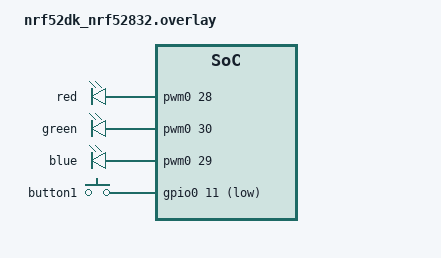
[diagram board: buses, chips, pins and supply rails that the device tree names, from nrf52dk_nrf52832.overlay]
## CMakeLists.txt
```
# SPDX-License-Identifier: Apache-2.0

cmake_minimum_required(VERSION 3.20.0)

find_package(Zephyr REQUIRED HINTS $ENV{ZEPHYR_BASE})
project(hello_world)

target_include_directories(app PRIVATE inc)

target_sources(app PRIVATE
	src/main.c
	src/cpp_main.cpp
	src/gpio_base.cpp
	src/gpio.cpp
	src/gpio_interrupt.cpp
	src/pwm.cpp
	src/ble.cpp
	src/ble_gap.cpp
	src/ble_gatt.cpp
	src/rgb_led.cpp
	src/temp_sensor.cpp
)
```

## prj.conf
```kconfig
CONFIG_NEWLIB_LIBC=y
CONFIG_CPLUSPLUS=y
CONFIG_STD_CPP14=y
CONFIG_LIB_CPLUSPLUS=y

CONFIG_BT=y
CONFIG_BT_PERIPHERAL=y
CONFIG_BT_DEVICE_NAME="nRF52 Earing"
# 外部クリスタルと温度センサを併用すると競合を起こすので、内部RC回路を使用
CONFIG_CLOCK_CONTROL_NRF_K32SRC_RC=y

CONFIG_UART_CONSOLE=n
CONFIG_RTT_CONSOLE=y

CONFIG_PWM=y

CONFIG_SENSOR=y
CONFIG_TEMP_NRF5=y
CONFIG_FPU=y
```

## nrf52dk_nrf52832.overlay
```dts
// To get started, press Ctrl+Space to bring up the completion menu and view the available nodes.
// For more help, browse the DeviceTree documentation at https://docs.zephyrproject.org/latest/guides/dts/index.html

/ {
	rgb_led: rgb-led {
		compatible = "pwm-leds";
		red: red {
			pwms = <&pwm0 28>;
		};
		green: green {
			pwms = <&pwm0 30>;
		};
		blue: blue {
			pwms = <&pwm0 29>;
		};
	};
};

&led0 {
	status = "disabled";
};


&led1 {
	status = "disabled";
	gpios = <&gpio0 19 GPIO_ACTIVE_LOW>;
};

&led2 {
	status = "disabled";
	/delete-property/ gpios;
};

&led3 {
	status = "disabled";
	/delete-property/ gpios;
};

&button0 {
	status = "disabled";
	gpios = <&gpio0 4 (GPIO_PULL_UP | GPIO_ACTIVE_LOW)>;
};

&button1 {
	gpios = <&gpio0 11 (GPIO_PULL_UP | GPIO_ACTIVE_LOW)>;
};

&button3 {
	status = "disabled";
	/delete-property/ gpios;
};

&pwm0 {
	ch0-pin = <28>;
	/delete-property/ ch0-inverted;
	ch1-pin = <30>;
	ch2-pin = <29>;
};


&spi0 {
	status = "disabled";
	/delete-property/ sck-pin;
	/delete-property/ mosi-pin;
	/delete-property/ miso-pin;
};

&spi1 {
	status = "disabled";
	/delete-property/ sck-pin;
	/delete-property/ mosi-pin;
	/delete-property/ miso-pin;
};

&spi2 {
	status = "disabled";
	/delete-property/ sck-pin;
	/delete-property/ mosi-pin;
	/delete-property/ miso-pin;
};
```

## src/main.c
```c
#include <zephyr.h>
#include <sys/printk.h>

#include <drivers/gpio.h>

#include "cpp_main.h"

void main(void)
{
	cpp_main();
}
```

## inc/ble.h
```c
#pragma once

#include <zephyr.h>
#include <bluetooth/bluetooth.h>
#include <bluetooth/conn.h>

using BLEConnectionCallback = void(*)(struct bt_conn*, uint8_t);

class BLE
{
	struct bt_conn* _connection = nullptr;

public:
	static int init(bt_ready_cb_t ready_callback = nullptr);

	static void register_connection_callback(struct bt_conn_cb* callback);

	static struct bt_conn_cb create_connection_callback(BLEConnectionCallback connected, BLEConnectionCallback disconnected);
	
	struct bt_conn* get_connection() const
	{
		return _connection;
	}

	bool is_connected() const
	{
		return _connection != nullptr;
	}

	void set_connection(struct bt_conn* connection)
	{
		_connection = connection;
	}
};
```

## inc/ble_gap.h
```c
#pragma once

#include <zephyr.h>
#include <bluetooth/bluetooth.h>

class BLEGAP
{
	static constexpr const size_t adv_param_length = 1;

	static struct bt_le_adv_param param[adv_param_length];

public:
	static const struct bt_le_adv_param* get_advertising_param(const uint32_t options = (BT_LE_ADV_OPT_CONNECTABLE | BT_LE_ADV_OPT_USE_NAME), const uint32_t interval_min = BT_GAP_ADV_FAST_INT_MIN_2, const uint32_t interval_max = BT_GAP_ADV_FAST_INT_MAX_2, const bt_addr_le_t* peer = nullptr);

	static int start_advertising(const bt_le_adv_param* param, const bt_data* advertising_data, const size_t advertising_data_size, const bt_data* scan_response_data = nullptr, const size_t scan_response_data_size = 0);
};
```

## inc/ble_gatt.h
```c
#pragma once

#include <zephyr.h>
#include <sys/printk.h>

#include <algorithm>

#include <bluetooth/bluetooth.h>
#include <bluetooth/hci.h>
#include <bluetooth/uuid.h>
#include <bluetooth/gatt.h>

#include "ble_gatt_format_type.h"

using OnGATTCallback = void (*)(uint8_t*, uint16_t, uint16_t);

class BLEGATT
{
	static constexpr const size_t characteristic_max_length = 20;

	static struct bt_gatt_cb gatt_callbacks;

	static void mtu_updated(struct bt_conn* conn, uint16_t tx, uint16_t rx);

public:
	static void init();

	static struct bt_gatt_cpf create_cpf(const BLEGATTFormatType format, const uint8_t exponent = 0x00, const uint16_t unit = 0x0000, const uint16_t name_space = 0x0000, const uint16_t description = 0x00);

	template<OnGATTCallback ON_READ_CALLBACK = nullptr> static ssize_t read_characteristic(struct bt_conn* conn, const struct bt_gatt_attr* attr, void* buf, uint16_t len, uint16_t offset);

	template<OnGATTCallback ON_WRITE_CALLBACK = nullptr> static ssize_t write_characteristic(struct bt_conn* conn, const struct bt_gatt_attr* attr, const void* buf, uint16_t len, uint16_t offset, uint8_t flags);
};

template<OnGATTCallback ON_READ_CALLBACK> ssize_t BLEGATT::read_characteristic(struct bt_conn* conn, const struct bt_gatt_attr* attr, void* buf, uint16_t len, uint16_t offset)
{
	uint8_t* value = reinterpret_cast<uint8_t*>(attr->user_data);

	if (ON_READ_CALLBACK != nullptr)
	{
		ON_READ_CALLBACK(value, len, offset);
	}

	return bt_gatt_attr_read(conn, attr, buf, len, offset, value, strlen(reinterpret_cast<char*>(value)));
}

template<OnGATTCallback ON_WRITE_CALLBACK> ssize_t BLEGATT::write_characteristic(struct bt_conn* conn, const struct bt_gatt_attr* attr, const void* buf, uint16_t len, uint16_t offset, uint8_t flags)
{
	uint8_t* value = reinterpret_cast<uint8_t*>(attr->user_data);

	if (offset + len > characteristic_max_length)
	{
		return BT_GATT_ERR(BT_ATT_ERR_INVALID_OFFSET);
	}

	if (value != nullptr)
	{
		uint8_t* buffer = reinterpret_cast<uint8_t*>(const_cast<void*>(buf));
		std::copy(buffer, buffer + len, value + offset);
		// 文字列の場合は次の位置にゼロ書き込む
	}

	if (ON_WRITE_CALLBACK != nullptr)
	{
		ON_WRITE_CALLBACK(value, len, offset);
	}

	return len;
}
```

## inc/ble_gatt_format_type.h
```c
#pragma once

#include <zephyr.h>

enum class BLEGATTFormatType : uint8_t
{
	RESERVED_FOR_FUTURE_USE = 0x00,
	BOOLEAN = 0x01,
	TWO_BITS = 0x02,
	NIBBLE = 0x03,
	UINT8 = 0x04,
	UINT12 = 0x05,
	UINT16 = 0x06,
	UINT24 = 0x07,
	UINT32 = 0x08,
	UINT48 = 0x09,
	UINT64 = 0x0a,
	UINT128 = 0x0b,
	SINT8 = 0x0c,
	SINT12 = 0x0d,
	SINT16 = 0x0e,
	SINT24 = 0x0f,
	SINT32 = 0x10,
	SINT48 = 0x11,
	SINT64 = 0x12,
	SINT128 = 0x13,
	FLOAT32 = 0x14,
	FLOAT64 = 0x15,
	SFLOAT = 0x16,
	FLOAT = 0x17,
	DUINT16 = 0x18,
	UTF8S = 0x19,
	UTF16S = 0x1a,
	STRUCT = 0x1b
};
```

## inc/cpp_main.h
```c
#pragma once

#include <zephyr.h>

#ifdef __cplusplus
extern "C" {
#endif

void cpp_main(void);

#ifdef __cplusplus
}
#endif
```

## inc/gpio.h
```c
#pragma once

#include <zephyr.h>
#include <sys/printk.h>

#include "gpio_base.h"

class GPIO : public GPIOBase
{
public:
	GPIO(const struct gpio_dt_spec spec) : GPIOBase(spec)
	{

	}

	GPIO(const struct device* port, const uint32_t pin) : GPIOBase(port, pin)
	{

	}

	int configure(const gpio_flags_t flags) override;

	int set(const int value);

	int set_high()
	{
		return set(GPIO_ACTIVE_HIGH);
	}

	int set_low()
	{
		return set(GPIO_ACTIVE_HIGH);
	}

	int toggle();
};
```

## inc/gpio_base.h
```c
#pragma once

#include <zephyr.h>
#include <sys/printk.h>

#include <drivers/gpio.h>

class GPIOBase
{
protected:
	const struct device* _port;
	const uint32_t _pin;

public:
	GPIOBase(const struct gpio_dt_spec spec) : _port(spec.port), _pin(spec.pin)
	{

	}

	GPIOBase(const struct device* port, const uint32_t pin) : _port(port), _pin(pin)
	{

	}

	bool is_ready() const;

	virtual int configure(const gpio_flags_t flags) = 0;
};
```

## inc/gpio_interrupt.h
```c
#pragma once

#include <zephyr.h>
#include <sys/printk.h>

#include "gpio_base.h"

class GPIOInterrupt : public GPIOBase
{
	struct gpio_callback _callback = {};
	
public:
	GPIOInterrupt(const struct gpio_dt_spec spec) : GPIOBase(spec)
	{

	}

	GPIOInterrupt(const struct device* port, const uint32_t pin) : GPIOBase(port, pin)
	{

	}

	int configure(const gpio_flags_t flags) override;

	void init_callback(gpio_callback_handler_t handler);

	int add_callback();

	int remove_callback();
};
```

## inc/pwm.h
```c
#pragma once

#include <zephyr.h>
#include <drivers/gpio.h>

#include <drivers/pwm.h>

class PWM
{
	const struct device* _device;
	const uint32_t _channel;
	const pwm_flags_t _flags;

public:
	PWM(const struct device* device, const uint32_t channel, const pwm_flags_t flags) : _device(device), _channel(channel), _flags(flags)
	{

	}

	int is_ready() const;

	int set_usec(const uint32_t period, const uint32_t pulse);
};
```

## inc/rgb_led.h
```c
#pragma once

#include <zephyr.h>
#include <sys/printk.h>

#include <array>

#include "pwm.h"

// RGB LED
#define RGB_LED_NODE				DT_NODELABEL(rgb_led)
#define RGB_LED_RED_NODE			DT_CHILD(RGB_LED_NODE, red)
#define RGB_LED_GREEN_NODE			DT_CHILD(RGB_LED_NODE, green)
#define RGB_LED_BLUE_NODE			DT_CHILD(RGB_LED_NODE, blue)

#define RGB_LED_RED_CTLR_NODE		DT_PWMS_CTLR(RGB_LED_RED_NODE)
#define RGB_LED_RED_CHANNEL			DT_PWMS_CHANNEL(RGB_LED_RED_NODE)
#define RGB_LED_RED_FLAGS			DT_PWMS_FLAGS(RGB_LED_RED_NODE)
#define RGB_LED_GREEN_CTLR_NODE		DT_PWMS_CTLR(RGB_LED_GREEN_NODE)
#define RGB_LED_GREEN_CHANNEL		DT_PWMS_CHANNEL(RGB_LED_GREEN_NODE)
#define RGB_LED_GREEN_FLAGS			DT_PWMS_FLAGS(RGB_LED_GREEN_NODE)
#define RGB_LED_BLUE_CTLR_NODE		DT_PWMS_CTLR(RGB_LED_BLUE_NODE)
#define RGB_LED_BLUE_CHANNEL		DT_PWMS_CHANNEL(RGB_LED_BLUE_NODE)
#define RGB_LED_BLUE_FLAGS			DT_PWMS_FLAGS(RGB_LED_BLUE_NODE)

enum {
	RGB_LED_RED_INDEX,
	RGB_LED_GREEN_INDEX,
	RGB_LED_BLUE_INDEX
};

enum {
	RGB_LED_PATTERN_STATIC,
	RGB_LED_PATTERN_BLINK,
	RGB_LED_PATTERN_FADE
};

class RGBLED
{
	static constexpr const uint8_t characteristic_max_value = 255;
	static constexpr const int init_blink_interval = 250;
	static constexpr const uint8_t led_num = 3;

	static constexpr const uint32_t pulse_ratio_max = 16;
	static constexpr const uint32_t pulse_ratio_min = 0;

	static constexpr const uint8_t count_blink_threshold = 5;

	static uint32_t pulse_ratio;
	static bool is_pulse_ratio_down;
	static uint8_t count_blink;

public:
	static constexpr const uint8_t pwm_period = characteristic_max_value;
	static constexpr const uint8_t pwm_on_pulse = 0x10;
	static constexpr const uint8_t pwm_on_red_pulse = pwm_on_pulse >> 1;
	static constexpr const uint8_t pwm_off_pulse = 0x00;
	static constexpr const uint8_t led_presets_length = 8;

	static uint8_t pattern;

private:
	static constexpr uint8_t led_presets[led_presets_length][led_num] = {
		{ pwm_off_pulse, pwm_off_pulse, pwm_off_pulse },		// Off
		{ pwm_on_red_pulse, pwm_on_pulse, pwm_on_pulse },		// White
		{ pwm_on_red_pulse, pwm_off_pulse, pwm_off_pulse },		// Red
		{ pwm_off_pulse, pwm_on_pulse, pwm_off_pulse },			// Green
		{ pwm_off_pulse, pwm_off_pulse, pwm_on_pulse },			// Blue
		{ pwm_on_red_pulse, pwm_on_pulse, pwm_off_pulse },		// Orange
		{ pwm_off_pulse, pwm_on_pulse, pwm_on_pulse },			// Skyblue
		{ pwm_on_red_pulse, pwm_off_pulse, pwm_on_pulse }		// Pink
	};

	std::array<PWM*, 3> _leds;
	std::array<uint8_t, 3>& _values;
	uint8_t _preset_index = 0;

public:
	RGBLED(PWM& led_red, PWM& led_green, PWM& led_blue, std::array<uint8_t, 3>& values) : _leds({ &led_red, &led_green, &led_blue }), _values(values)
	{

	}

	static void init(PWM* led_pwm);

	void init()
	{
		for (PWM* led : _leds)
		{
			init(led);
		}
	}

	static void init_completed_blink(PWM& led_pwm);

	template<PWM& LED_PWM> static void on_write_characteristic(uint8_t* value, uint16_t length, uint16_t offset);

	static void on_write_pattern_characteristic(uint8_t* value, uint16_t length, uint16_t offset);
	
	static void set_preset(std::array<PWM*, led_num> leds, std::array<uint8_t, led_num>& values, const uint8_t index);

	static void set(PWM* led_pwm, const uint8_t value);

	void set_preset(const uint8_t index)
	{
		set_preset(_leds, _values, index);
	}

	void set_preset()
	{
		set_preset(_preset_index);
	}

	uint8_t get_preset_index() const
	{
		return _preset_index;
	}

	void increment_preset_index();

	static void reset(std::array<PWM*, led_num> leds, std::array<uint8_t, led_num>& values)
	{
		set_preset(leds, values, pwm_off_pulse);
	}

	void reset()
	{
		reset(_leds, _values);
	}

	static void update_pattern();

	void update();
};

template<PWM& LED_PWM> void RGBLED::on_write_characteristic(uint8_t* value, uint16_t length, uint16_t offset)
{
	if (length != 1)
	{
		return;
	}

	const uint8_t pulse = *value;
	set(&LED_PWM, pulse);
}
```

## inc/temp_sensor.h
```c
#pragma once

#include <zephyr.h>
#include <sys/printk.h>

#include <drivers/sensor.h>

class TempSensor
{
	const struct device* _device;
	float _value = 0;

public:
	void init(const struct device* device);

	float get_value() const
	{
		return _value;
	}

	void fetch();
};
```

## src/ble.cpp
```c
#include "ble.h"

int BLE::init(bt_ready_cb_t ready_callback)
{
	return bt_enable(ready_callback);
}

void BLE::register_connection_callback(struct bt_conn_cb* callback)
{
	bt_conn_cb_register(callback);
}

struct bt_conn_cb BLE::create_connection_callback(BLEConnectionCallback connected, BLEConnectionCallback disconnected)
{
	struct bt_conn_cb callback;
	callback.connected = connected;
	callback.disconnected = disconnected;

	return callback;
}
```
